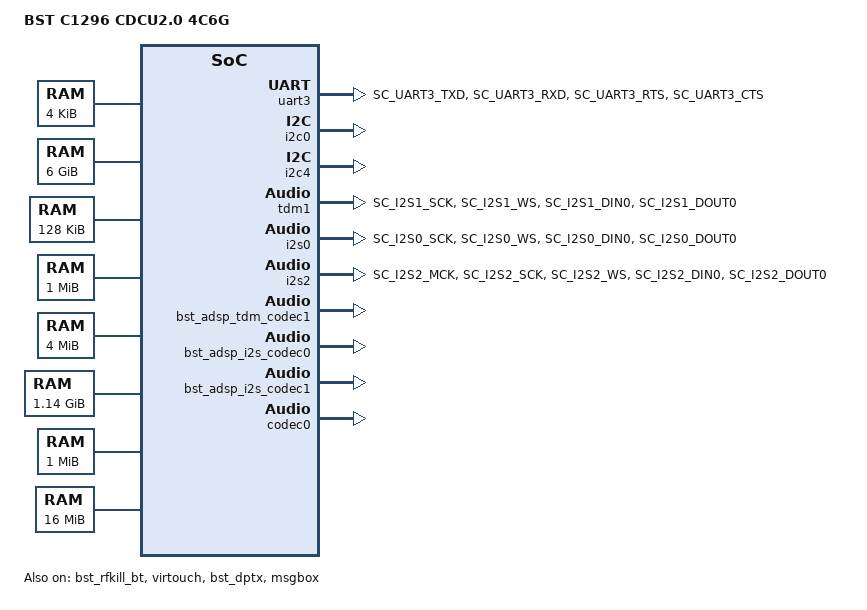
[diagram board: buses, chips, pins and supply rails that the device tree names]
/dts-v1/;
/plugin/;

#include <dt-bindings/interrupt-controller/arm-gic.h>

/{
    fragment_root {
        target-path = "/";
	__overlay__ {
		/* This section was used on AOSP v9.0 for defining first-stage fstab records */
		model = "BST C1296 CDCU2.0 4C6G";
		firmware {
			android {
				compatible = "android,firmware";

				fstab {
					compatible = "android,fstab";
				};
			};
		};

		/* This is used to push the total usable DDR to Normal Zone
		 * DON NOT USE IT !!!
		 */
		memory@1000000 {
			device_type = "memory";
			reg = <0x0 0x1000000 0x0 0x1000>;
		};

		memory@c00000000 {
			device_type = "memory";
			reg = <0xc 0x40000000 0x1 0x80000000>;
		};

		memory@800000000 {
			device_type = "memory";
			reg = <0x8 0x00000000 0x0 0x20000>;
		};

		memory@806400000 {
			device_type = "memory";
			reg = <0x8 0x6400000 0x0 0x100000>;
		};


		memory@800300000 {
			device_type = "memory";
			reg = <0x8 0x300000 0x0 0x400000>;
		};



		memory@837000000 {
			device_type = "memory";
			reg = <0x8 0x37000000 0x0 0x49000000>;
		};

		memory@806a10000 {
			device_type = "memory";
			reg = <0x8 0x06a10000 0x0 0x100000>;
		};
		memory@80e000000 {
			device_type = "memory";
			reg = <0x8 0x0e000000 0x0 0x1000000>;
		};

		/****************************************************************************************/
/*	c0_lockstep/c1_split	1 + 5: c0 0x0 + c0 0x100 \ c1 0x0 ~ 0x300
 *	c0_lockstep/c1_lockstep	1 + 3: c0 0x0 + c0 0x100 \ c1 0x0 ~ 0x100
 *	split			2 + 6: c0 0x0 ~ 0x100 + c0 0x200 ~ 0x300 \ c1 0x0 ~ 0x300
 *	split			4 + 4: c0 0x0 ~ 0x300 + c1 0x0 ~ 0x300
 */
/****************************************************************************************/
	cpus {
		#address-cells = <1>;
		#size-cells = <0>;

		cpu_l3: cpu@3 {
			compatible = "arm,cortex-a78", "arm,armv8";
			device_type = "cpu";
			enable-method = "psci";
			next-level-cache = <&l2_3>;
			reg = <0x300>;
			freq-domain = <&cpufreq 0>;

			i-cache-size = <0x10000>;
			i-cache-line-size = <64>;
			i-cache-sets = <256>;
			d-cache-size = <0x10000>;
			d-cache-line-size = <64>;
			d-cache-sets = <256>;

			l2_3: l2-cache {
				compatible = "cache";
				cache-level = <2>;
				next-level-cache = <&l3_0>;
				cache-size = <0x80000>;
				cache-line-size = <64>;
				cache-sets = <1024>;
			};
		};

		cpu_l2: cpu@2 {
			compatible = "arm,cortex-a78", "arm,armv8";
			device_type = "cpu";
			enable-method = "psci";
			next-level-cache = <&l2_2>;
			reg = <0x200>;
			freq-domain = <&cpufreq 0>;

			i-cache-size = <0x10000>;
			i-cache-line-size = <64>;
			i-cache-sets = <256>;
			d-cache-size = <0x10000>;
			d-cache-line-size = <64>;
			d-cache-sets = <256>;

			l2_2: l2-cache {
				compatible = "cache";
				cache-level = <2>;
				next-level-cache = <&l3_0>;
				cache-size = <0x80000>;
				cache-line-size = <64>;
				cache-sets = <1024>;
			};
		};

		cpu_l1: cpu@1 {
			compatible = "arm,cortex-a78", "arm,armv8";
			device_type = "cpu";
			enable-method = "psci";
			next-level-cache = <&l2_1>;
			reg = <0x100>;
			freq-domain = <&cpufreq 0>;

			i-cache-size = <0x10000>;
			i-cache-line-size = <64>;
			i-cache-sets = <256>;
			d-cache-size = <0x10000>;
			d-cache-line-size = <64>;
			d-cache-sets = <256>;

			l2_1: l2-cache {
				compatible = "cache";
				cache-level = <2>;
				next-level-cache = <&l3_0>;
				cache-size = <0x80000>;
				cache-line-size = <64>;
				cache-sets = <1024>;
			};
		};

		cpu_l0: cpu@0 {
			compatible = "arm,cortex-a78", "arm,armv8";
			device_type = "cpu";
			enable-method = "psci";
			next-level-cache = <&l2_0>;
			reg = <0x0>;
			freq-domain = <&cpufreq 0>;

			i-cache-size = <0x10000>;
			i-cache-line-size = <64>;
			i-cache-sets = <256>;
			d-cache-size = <0x10000>;
			d-cache-line-size = <64>;
			d-cache-sets = <256>;

			l2_0: l2-cache {
				compatible = "cache";
				cache-level = <2>;
				next-level-cache = <&l3_0>;
				cache-size = <0x80000>;
				cache-line-size = <64>;
				cache-sets = <1024>;
			};
		};

		l3_0: l3-cache@0 {
			compatible = "cache";
			cache-level = <3>;
			cache-size = <0x200000>;
			cache-line-size = <64>;
			cache-sets = <2048>;
		};
	};
	};
    };
};
&scmi_pinctrl {    
    uart3_pinctrl:uart3_pinctrl  {
        mux {
            pins = "SC_UART3_TXD", "SC_UART3_RXD","SC_UART3_RTS", "SC_UART3_CTS";
            function = "uart3";
        };
    };

    gpio_pinctrl:gpio_pinctrl {
        mux {
            pins = "WK_GPIO13", "SC_I2S1_MCK", "SC_I2S0_MCK", "SC_I2S2_DIN1", "SC_I2S2_DOUT1",
            "SC_I2S2_DIN2", "SC_I2S2_DOUT2", "SC_I2S2_DIN3", "SC_I2S2_DOUT3";
            function = "gpio";
        };
    };
    tdm0_pinctrl:tdm0_pinctrl  {
        mux {
            pins = "SC_I2S0_SCK", "SC_I2S0_WS", "SC_I2S0_DIN0", "SC_I2S0_DOUT0";
            function = "pcm0";
        };
    };
    tdm1_pinctrl:tdm1_pinctrl  {
        mux {
            pins = "SC_I2S1_SCK", "SC_I2S1_WS", "SC_I2S1_DIN0", "SC_I2S1_DOUT0";
            function = "pcm1";
        };
    };
    i2s0_pinctrl:i2s0_pinctrl  {
        mux {
            pins = "SC_I2S0_SCK", "SC_I2S0_WS", "SC_I2S0_DIN0", "SC_I2S0_DOUT0";
            function = "i2s0";
        };
    };
    i2s1_pinctrl:i2s1_pinctrl  {
        mux {
            pins = "SC_I2S1_SCK", "SC_I2S1_WS", "SC_I2S1_DIN0", "SC_I2S1_DOUT0";
            function = "i2s1";
        };
    };
    i2s2_pinctrl:i2s2_pinctrl  {
        mux {
            pins = "SC_I2S2_MCK", "SC_I2S2_SCK", "SC_I2S2_WS", "SC_I2S2_DIN0", "SC_I2S2_DOUT0";
            function = "i2s2";
        };
    };

    hpd_pinctrl:hpd_pinctrl {
        mux {
            pins = "EDP_HPD";
            function = "edp";
        };
    };
    lvds0_pinconfig:lvds0_pinconfig {
        config {
            pins = "LVDS0_ODD_TX0", "LVDS0_ODD_TX1", "LVDS0_ODD_TX2", "LVDS0_ODD_TX3", "LVDS0_ODD_CLKN";
            input-enable;
        };
    };
    lvds1_pinconfig:lvds1_pinconfig {
        config {
            pins = "LVDS0_EVEN_TX0", "LVDS0_EVEN_TX1", "LVDS0_EVEN_TX2", "LVDS0_EVEN_TX3", "LVDS0_EVEN_CLKN";
            input-enable;
        };
    };
    sw_gmac_pinctrl:sw_gmac_pinctrl {
		mux {
			pins = "SW_XGMAC2_MDIO", "SW_XGMAC2_MDC";    //PAD NAME
			function = "sw_gmac"; 
		};
	};
};
&uart3 {
    status = "okay";
    pinctrl-names = "default";
    pinctrl-0 = <&uart3_pinctrl>;
};
&gpio0 {
	status = "okay";
	pinctrl-names = "default";
	pinctrl-0 = <&gpio_pinctrl &isp_pinctrl &deser_pinctrl>;
};

&i2c0 {
	status = "okay";
};

&i2c1 {
	status = "disable";
};

&i2c2 {
	status = "disable";
};

&i2c3 {
	status = "disable";
};

&i2c4 {
	status = "okay";
};

&i2c5 {
	status = "disable";
};

&i2c6 {
	status = "disable";
};

&i2c7 {
	status = "disable";
};

&tdm1 {
    status = "okay";
    //use-dma;
    pinctrl-names = "default";
    pinctrl-0 = <&tdm1_pinctrl>;
    slot_cnt = <8>;
};

&i2s0 {
    status = "okay";
    use-dma;
    pinctrl-names = "default";
    pinctrl-0 = <&i2s0_pinctrl>;
};

&i2s2 {
    status = "okay";
    use-dma;
    pinctrl-names = "default";
    pinctrl-0 = <&i2s2_pinctrl>;
};

&bst_adsp_tdm_codec1 {
    status = "okay";
};

&bst_adsp_i2s_codec0 {
    status = "okay";
};

&bst_adsp_i2s_codec1 {
    status = "okay";
};

&bst_rfkill_bt {
    status = "okay";
};

&virtouch {
	status = "okay";
};

&bst_dptx {
    status = "okay";
    pinctrl-names = "default";
    pinctrl-0 = <&hpd_pinctrl>;
};
&gmac0 {
	status = "disable";
	phy-handle = <&eth_phy1>;
	extend-op = <20>;
	phy-mode = "sgmii";
	mac-mode = "gmii";
    xpcs-addr = <1>;
	/*bypass;  //bool, set: bypass , non set : non bypass
	pinctrl-names = "default"; //bypass
    pinctrl-0 = <&sw_gmac_pinctrl>;*/

	mdio {
		compatible = "snps,dwmac-mdio";
		#address-cells = <1>;
		#size-cells = <0>;
		status = "okay";		
		eth_phy1: eth_phy1@1 {
			compatible = "marvell,88E1510", "ethernet-phy-id0141.0DD1", "ethernet-phy-ieee802.3-c22";
			device_type = "ethernet-phy";
			max-speed = <1000>;
			reg = <0x1>;
			reset-active-low;
			reset-gpios = <&portf 4 1>; //gpio 164
			reset-assert-us = <20000>;
			reset-deassert-us = <20000>;
		};
		
	};
};

&msgbox {
	status = "okay";
	spi-irq-num = <4>;
	filter-num = <8>;
	// id = <0x0>;
	// end0 and end1 spi irq
	interrupts =    <
			GIC_PPI 2 (GIC_CPU_MASK_SIMPLE(8) | IRQ_TYPE_LEVEL_LOW)
			GIC_PPI 3 (GIC_CPU_MASK_SIMPLE(8) | IRQ_TYPE_LEVEL_LOW)
			GIC_PPI 4 (GIC_CPU_MASK_SIMPLE(8) | IRQ_TYPE_LEVEL_LOW)
			GIC_PPI 15 (GIC_CPU_MASK_SIMPLE(8) | IRQ_TYPE_LEVEL_LOW)
			GIC_SPI 544 (IRQ_TYPE_LEVEL_HIGH)
			GIC_SPI 545 (IRQ_TYPE_LEVEL_HIGH)
			GIC_SPI 546 (IRQ_TYPE_LEVEL_HIGH)
			GIC_SPI 547 (IRQ_TYPE_LEVEL_HIGH)
			GIC_SPI 548 (IRQ_TYPE_LEVEL_HIGH)
			GIC_SPI 549 (IRQ_TYPE_LEVEL_HIGH)
			GIC_SPI 550 (IRQ_TYPE_LEVEL_HIGH)
			GIC_SPI 551 (IRQ_TYPE_LEVEL_HIGH)
			GIC_SPI 552 (IRQ_TYPE_LEVEL_HIGH)
			GIC_SPI 553 (IRQ_TYPE_LEVEL_HIGH)
			GIC_SPI 554 (IRQ_TYPE_LEVEL_HIGH)
			GIC_SPI 555 (IRQ_TYPE_LEVEL_HIGH)
			GIC_SPI 556 (IRQ_TYPE_LEVEL_HIGH)
			GIC_SPI 557 (IRQ_TYPE_LEVEL_HIGH)
			GIC_SPI 558 (IRQ_TYPE_LEVEL_HIGH)
			GIC_SPI 559 (IRQ_TYPE_LEVEL_HIGH)
			>;
	#mbox-cells = <0x1>;
};

&codec0 {
	compatible = "arm china,linlon-v5";
	status = "okay";
	/* PMU_CODEC0 value defined in safety power domain */
	power-domains = <&scmi_devpd 0x19>;
};
